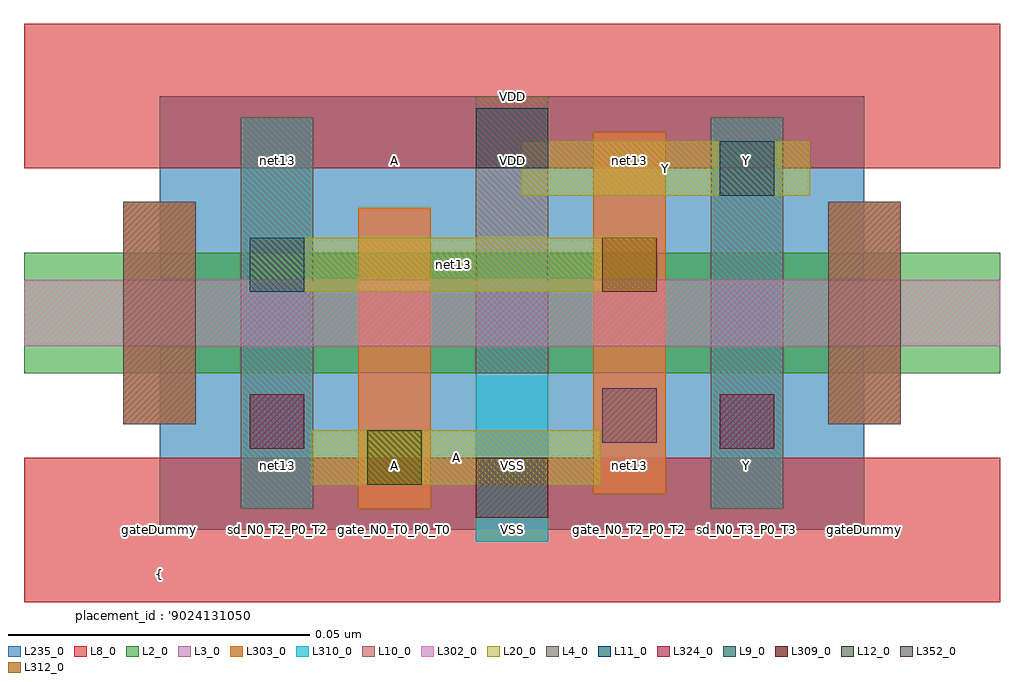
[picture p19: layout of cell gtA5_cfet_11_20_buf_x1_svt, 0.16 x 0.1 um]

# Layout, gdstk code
import gdstk
lib = gdstk.Library(unit=1e-6, precision=2.5e-10)
def R(c, l, rs):  # rectangles x0, y0, x1, y1
    for r in rs: c.add(gdstk.rectangle(r[:2], r[2:], *l))
L2_0 = (2, 0)
L3_0 = (3, 0)
L4_0 = (4, 0)
L8_0 = (8, 0)
L9_0 = (9, 0)
L10_0 = (10, 0)
L11_0 = (11, 0)
L12_0 = (12, 0)
L20_0 = (20, 0)
L235_0 = (235, 0)
L302_0 = (302, 0)
L303_0 = (303, 0)
L309_0 = (309, 0)
L310_0 = (310, 0)
L312_0 = (312, 0)
L324_0 = (324, 0)
L352_0 = (352, 0)

gta5_cfet_11_20_buf_x1_s = lib.new_cell('gtA5_cfet_11_20_buf_x1_svt')
R(gta5_cfet_11_20_buf_x1_s, L2_0, [(-0.0225,0.026,0.1395,0.046)])
R(gta5_cfet_11_20_buf_x1_s, L3_0, [(0.033,0.0035,0.045,0.0535), (0.072,0.006,0.084,0.066), (-0.006,0.0175,0.006,0.0545), (0.111,0.0175,0.123,0.0545)])
R(gta5_cfet_11_20_buf_x1_s, L4_0, [(-0.006,0.0175,0.006,0.0545), (0.111,0.0175,0.123,0.0545)])
R(gta5_cfet_11_20_buf_x1_s, L8_0, [(-0.0225,-0.012,0.1395,0.012), (-0.0225,0.06,0.1395,0.084)])
R(gta5_cfet_11_20_buf_x1_s, L9_0, [(0.0525,0.06,0.0645,0.07)])
R(gta5_cfet_11_20_buf_x1_s, L10_0, [(0.0135,0.0035,0.0255,0.0685), (0.0915,0.0035,0.1035,0.0685), (0.0525,0.026,0.0645,0.072)])
R(gta5_cfet_11_20_buf_x1_s, L11_0, [(0.015,0.0395,0.024,0.0485), (0.093,0.0555,0.102,0.0645)])
R(gta5_cfet_11_20_buf_x1_s, L12_0, [(0.0345,0.0075,0.0435,0.0165)])
R(gta5_cfet_11_20_buf_x1_s, L20_0, [(0.0253,0.0075,0.0732,0.0165), (0.015,0.0395,0.0825,0.0485), (0.06,0.0555,0.108,0.0645)])
R(gta5_cfet_11_20_buf_x1_s, L235_0, [(0,0,0.117,0.072)])
R(gta5_cfet_11_20_buf_x1_s, L302_0, [(-0.0225,0.0305,0.1395,0.0415)])
R(gta5_cfet_11_20_buf_x1_s, L303_0, [(0.033,0.0035,0.045,0.0535), (0.072,0.006,0.084,0.066), (-0.006,0.0175,0.006,0.0545), (0.111,0.0175,0.123,0.0545)])
R(gta5_cfet_11_20_buf_x1_s, L309_0, [(0.0525,0.002,0.0645,0.012)])
R(gta5_cfet_11_20_buf_x1_s, L310_0, [(0.0525,-0.002,0.0645,0.046), (0.0135,0.0035,0.0255,0.0685), (0.0915,0.0035,0.1035,0.0685)])
R(gta5_cfet_11_20_buf_x1_s, L312_0, [(0.0735,0.0395,0.0825,0.0485)])
R(gta5_cfet_11_20_buf_x1_s, L324_0, [(0.015,0.0135,0.024,0.0225), (0.093,0.0135,0.102,0.0225)])
R(gta5_cfet_11_20_buf_x1_s, L352_0, [(0.0735,0.0145,0.0825,0.0235)])
gta5_cfet_11_20_buf_x1_s.add(gdstk.Label('net13', (0.0488,0.044), layer=100, texttype=100))
gta5_cfet_11_20_buf_x1_s.add(gdstk.Label('gateDummy', (0,0), layer=103, texttype=103))
gta5_cfet_11_20_buf_x1_s.add(gdstk.Label('sd_N0_T2_P0_T2', (0.0195,0), layer=103, texttype=103))
gta5_cfet_11_20_buf_x1_s.add(gdstk.Label('gate_N0_T0_P0_T0', (0.039,0), layer=103, texttype=103))
gta5_cfet_11_20_buf_x1_s.add(gdstk.Label('sd_N0_VSS_P0_VDD', (0.0585,0), layer=103, texttype=103))
gta5_cfet_11_20_buf_x1_s.add(gdstk.Label('gate_N0_T2_P0_T2', (0.078,0), layer=103, texttype=103))
gta5_cfet_11_20_buf_x1_s.add(gdstk.Label('sd_N0_T3_P0_T3', (0.0975,0), layer=103, texttype=103))
gta5_cfet_11_20_buf_x1_s.add(gdstk.Label('gateDummy', (0.117,0), layer=103, texttype=103))
gta5_cfet_11_20_buf_x1_s.add(gdstk.Label('}', (0,-0.0785), layer=104, texttype=104))
gta5_cfet_11_20_buf_x1_s.add(gdstk.Label('  power : None', (0,-0.0713), layer=104, texttype=104))
gta5_cfet_11_20_buf_x1_s.add(gdstk.Label('  performance : None', (0,-0.0643), layer=104, texttype=104))
gta5_cfet_11_20_buf_x1_s.add(gdstk.Label("  solution_hash : '9816649036410754284'", (0,-0.057), layer=104, texttype=104))
gta5_cfet_11_20_buf_x1_s.add(gdstk.Label('  number_m2 : 0', (0,-0.05), layer=104, texttype=104))
gta5_cfet_11_20_buf_x1_s.add(gdstk.Label('  number_m1 : 0', (0,-0.0428), layer=104, texttype=104))
gta5_cfet_11_20_buf_x1_s.add(gdstk.Label('  number_m0cuts : 0', (0,-0.0358), layer=104, texttype=104))
gta5_cfet_11_20_buf_x1_s.add(gdstk.Label('  number_m0 : 3', (0,-0.0285), layer=104, texttype=104))
gta5_cfet_11_20_buf_x1_s.add(gdstk.Label("  solution_number : '0000'", (0,-0.0215), layer=104, texttype=104))
gta5_cfet_11_20_buf_x1_s.add(gdstk.Label("  placement_id : '9024131050041494301'", (0,-0.0143), layer=104, texttype=104))
gta5_cfet_11_20_buf_x1_s.add(gdstk.Label('{', (0,-0.0073), layer=104, texttype=104))
gta5_cfet_11_20_buf_x1_s.add(gdstk.Label('net13', (0.0195,0.0108), layer=105, texttype=105))
gta5_cfet_11_20_buf_x1_s.add(gdstk.Label('A', (0.039,0.0108), layer=105, texttype=105))
gta5_cfet_11_20_buf_x1_s.add(gdstk.Label('VSS', (0.0585,0.0108), layer=105, texttype=105))
gta5_cfet_11_20_buf_x1_s.add(gdstk.Label('net13', (0.078,0.0108), layer=105, texttype=105))
gta5_cfet_11_20_buf_x1_s.add(gdstk.Label('Y', (0.0975,0.0108), layer=105, texttype=105))
gta5_cfet_11_20_buf_x1_s.add(gdstk.Label('net13', (0.0195,0.0612), layer=105, texttype=105))
gta5_cfet_11_20_buf_x1_s.add(gdstk.Label('A', (0.039,0.0612), layer=105, texttype=105))
gta5_cfet_11_20_buf_x1_s.add(gdstk.Label('VDD', (0.0585,0.0612), layer=105, texttype=105))
gta5_cfet_11_20_buf_x1_s.add(gdstk.Label('net13', (0.078,0.0612), layer=105, texttype=105))
gta5_cfet_11_20_buf_x1_s.add(gdstk.Label('Y', (0.0975,0.0612), layer=105, texttype=105))
gta5_cfet_11_20_buf_x1_s.add(gdstk.Label('VSS', (0.0585,0), layer=8, texttype=0))
gta5_cfet_11_20_buf_x1_s.add(gdstk.Label('VDD', (0.0585,0.072), layer=8, texttype=0))
gta5_cfet_11_20_buf_x1_s.add(gdstk.Label('A', (0.0493,0.012), layer=20, texttype=251))
gta5_cfet_11_20_buf_x1_s.add(gdstk.Label('Y', (0.084,0.06), layer=20, texttype=251))
gta5_cfet_11_20_buf_x1_s.add(gdstk.Label('gtA5_cfet_11_20_buf_x1_rvt_0', (0,0), layer=235, texttype=0))

lib.write_gds('gtA5_cfet_11_20_buf_x1_svt.gds')
